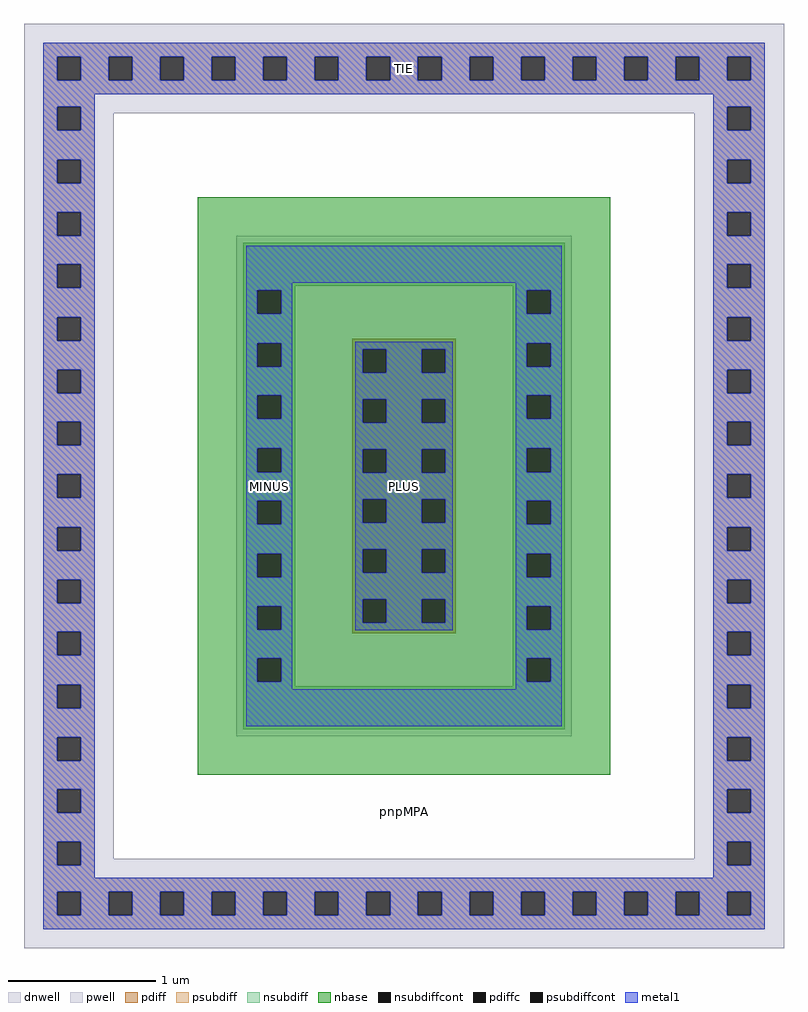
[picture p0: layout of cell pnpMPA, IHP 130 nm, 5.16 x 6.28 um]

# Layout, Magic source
magic
tech ihp-sg13g2
magscale 1 2
<< dnwell >>
rect -228 -340 228 340
<< pwell >>
rect -516 506 516 628
rect -516 -506 -394 506
rect 394 -506 516 506
rect -516 -628 516 -506
<< nbase >>
rect -280 -392 280 392
<< pdiff >>
rect -70 186 70 200
rect -70 154 -56 186
rect -24 154 24 186
rect 56 154 70 186
rect -70 118 70 154
rect -70 86 -56 118
rect -24 86 24 118
rect 56 86 70 118
rect -70 50 70 86
rect -70 18 -56 50
rect -24 18 24 50
rect 56 18 70 50
rect -70 -18 70 18
rect -70 -50 -56 -18
rect -24 -50 24 -18
rect 56 -50 70 -18
rect -70 -86 70 -50
rect -70 -118 -56 -86
rect -24 -118 24 -86
rect 56 -118 70 -86
rect -70 -154 70 -118
rect -70 -186 -56 -154
rect -24 -186 24 -154
rect 56 -186 70 -154
rect -70 -200 70 -186
<< pdiffc >>
rect -56 154 -24 186
rect 24 154 56 186
rect -56 86 -24 118
rect 24 86 56 118
rect -56 18 -24 50
rect 24 18 56 50
rect -56 -50 -24 -18
rect 24 -50 56 -18
rect -56 -118 -24 -86
rect 24 -118 56 -86
rect -56 -186 -24 -154
rect 24 -186 56 -154
<< psubdiff >>
rect -490 583 490 602
rect -490 551 -471 583
rect -439 551 -401 583
rect -369 551 -331 583
rect -299 551 -261 583
rect -229 551 -191 583
rect -159 551 -121 583
rect -89 551 -51 583
rect -19 551 19 583
rect 51 551 89 583
rect 121 551 159 583
rect 191 551 229 583
rect 261 551 299 583
rect 331 551 369 583
rect 401 551 439 583
rect 471 551 490 583
rect -490 532 490 551
rect -490 515 -420 532
rect -490 483 -471 515
rect -439 483 -420 515
rect -490 443 -420 483
rect -490 411 -471 443
rect -439 411 -420 443
rect -490 372 -420 411
rect -490 340 -471 372
rect -439 340 -420 372
rect -490 301 -420 340
rect 420 515 490 532
rect 420 483 439 515
rect 471 483 490 515
rect 420 443 490 483
rect 420 411 439 443
rect 471 411 490 443
rect 420 372 490 411
rect 420 340 439 372
rect 471 340 490 372
rect -490 269 -471 301
rect -439 269 -420 301
rect -490 229 -420 269
rect -490 197 -471 229
rect -439 197 -420 229
rect -490 158 -420 197
rect -490 126 -471 158
rect -439 126 -420 158
rect -490 87 -420 126
rect -490 55 -471 87
rect -439 55 -420 87
rect -490 16 -420 55
rect -490 -16 -471 16
rect -439 -16 -420 16
rect -490 -56 -420 -16
rect -490 -88 -471 -56
rect -439 -88 -420 -56
rect -490 -127 -420 -88
rect -490 -159 -471 -127
rect -439 -159 -420 -127
rect -490 -198 -420 -159
rect -490 -230 -471 -198
rect -439 -230 -420 -198
rect -490 -270 -420 -230
rect -490 -302 -471 -270
rect -439 -302 -420 -270
rect -490 -341 -420 -302
rect 420 301 490 340
rect 420 269 439 301
rect 471 269 490 301
rect 420 229 490 269
rect 420 197 439 229
rect 471 197 490 229
rect 420 158 490 197
rect 420 126 439 158
rect 471 126 490 158
rect 420 87 490 126
rect 420 55 439 87
rect 471 55 490 87
rect 420 16 490 55
rect 420 -16 439 16
rect 471 -16 490 16
rect 420 -56 490 -16
rect 420 -88 439 -56
rect 471 -88 490 -56
rect 420 -127 490 -88
rect 420 -159 439 -127
rect 471 -159 490 -127
rect 420 -198 490 -159
rect 420 -230 439 -198
rect 471 -230 490 -198
rect 420 -270 490 -230
rect 420 -302 439 -270
rect 471 -302 490 -270
rect -490 -373 -471 -341
rect -439 -373 -420 -341
rect -490 -412 -420 -373
rect -490 -444 -471 -412
rect -439 -444 -420 -412
rect -490 -483 -420 -444
rect -490 -515 -471 -483
rect -439 -515 -420 -483
rect -490 -532 -420 -515
rect 420 -341 490 -302
rect 420 -373 439 -341
rect 471 -373 490 -341
rect 420 -412 490 -373
rect 420 -444 439 -412
rect 471 -444 490 -412
rect 420 -483 490 -444
rect 420 -515 439 -483
rect 471 -515 490 -483
rect 420 -532 490 -515
rect -490 -551 490 -532
rect -490 -583 -471 -551
rect -439 -583 -401 -551
rect -369 -583 -331 -551
rect -299 -583 -261 -551
rect -229 -583 -191 -551
rect -159 -583 -121 -551
rect -89 -583 -51 -551
rect -19 -583 19 -551
rect 51 -583 89 -551
rect 121 -583 159 -551
rect 191 -583 229 -551
rect 261 -583 299 -551
rect 331 -583 369 -551
rect 401 -583 439 -551
rect 471 -583 490 -551
rect -490 -602 490 -583
<< nsubdiff >>
rect -218 272 218 330
rect -218 266 -148 272
rect -218 234 -199 266
rect -167 234 -148 266
rect -218 194 -148 234
rect 148 266 218 272
rect 148 234 167 266
rect 199 234 218 266
rect -218 162 -199 194
rect -167 162 -148 194
rect -218 123 -148 162
rect -218 91 -199 123
rect -167 91 -148 123
rect -218 51 -148 91
rect -218 19 -199 51
rect -167 19 -148 51
rect -218 -20 -148 19
rect -218 -52 -199 -20
rect -167 -52 -148 -20
rect -218 -92 -148 -52
rect -218 -124 -199 -92
rect -167 -124 -148 -92
rect -218 -163 -148 -124
rect -218 -195 -199 -163
rect -167 -195 -148 -163
rect -218 -234 -148 -195
rect 148 194 218 234
rect 148 162 167 194
rect 199 162 218 194
rect 148 123 218 162
rect 148 91 167 123
rect 199 91 218 123
rect 148 51 218 91
rect 148 19 167 51
rect 199 19 218 51
rect 148 -20 218 19
rect 148 -52 167 -20
rect 199 -52 218 -20
rect 148 -92 218 -52
rect 148 -124 167 -92
rect 199 -124 218 -92
rect 148 -163 218 -124
rect 148 -195 167 -163
rect 199 -195 218 -163
rect -218 -266 -199 -234
rect -167 -266 -148 -234
rect -218 -272 -148 -266
rect 148 -234 218 -195
rect 148 -266 167 -234
rect 199 -266 218 -234
rect 148 -272 218 -266
rect -218 -330 218 -272
<< psubdiffcont >>
rect -471 551 -439 583
rect -401 551 -369 583
rect -331 551 -299 583
rect -261 551 -229 583
rect -191 551 -159 583
rect -121 551 -89 583
rect -51 551 -19 583
rect 19 551 51 583
rect 89 551 121 583
rect 159 551 191 583
rect 229 551 261 583
rect 299 551 331 583
rect 369 551 401 583
rect 439 551 471 583
rect -471 483 -439 515
rect -471 411 -439 443
rect -471 340 -439 372
rect 439 483 471 515
rect 439 411 471 443
rect 439 340 471 372
rect -471 269 -439 301
rect -471 197 -439 229
rect -471 126 -439 158
rect -471 55 -439 87
rect -471 -16 -439 16
rect -471 -88 -439 -56
rect -471 -159 -439 -127
rect -471 -230 -439 -198
rect -471 -302 -439 -270
rect 439 269 471 301
rect 439 197 471 229
rect 439 126 471 158
rect 439 55 471 87
rect 439 -16 471 16
rect 439 -88 471 -56
rect 439 -159 471 -127
rect 439 -230 471 -198
rect 439 -302 471 -270
rect -471 -373 -439 -341
rect -471 -444 -439 -412
rect -471 -515 -439 -483
rect 439 -373 471 -341
rect 439 -444 471 -412
rect 439 -515 471 -483
rect -471 -583 -439 -551
rect -401 -583 -369 -551
rect -331 -583 -299 -551
rect -261 -583 -229 -551
rect -191 -583 -159 -551
rect -121 -583 -89 -551
rect -51 -583 -19 -551
rect 19 -583 51 -551
rect 89 -583 121 -551
rect 159 -583 191 -551
rect 229 -583 261 -551
rect 299 -583 331 -551
rect 369 -583 401 -551
rect 439 -583 471 -551
<< nsubdiffcont >>
rect -199 234 -167 266
rect 167 234 199 266
rect -199 162 -167 194
rect -199 91 -167 123
rect -199 19 -167 51
rect -199 -52 -167 -20
rect -199 -124 -167 -92
rect -199 -195 -167 -163
rect 167 162 199 194
rect 167 91 199 123
rect 167 19 199 51
rect 167 -52 199 -20
rect 167 -124 199 -92
rect 167 -195 199 -163
rect -199 -266 -167 -234
rect 167 -266 199 -234
<< metal1 >>
rect -490 583 490 602
rect -490 551 -471 583
rect -439 551 -401 583
rect -369 551 -331 583
rect -299 551 -261 583
rect -229 551 -191 583
rect -159 551 -121 583
rect -89 551 -51 583
rect -19 551 19 583
rect 51 551 89 583
rect 121 551 159 583
rect 191 551 229 583
rect 261 551 299 583
rect 331 551 369 583
rect 401 551 439 583
rect 471 551 490 583
rect -490 532 490 551
rect -490 515 -420 532
rect -490 483 -471 515
rect -439 483 -420 515
rect -490 443 -420 483
rect -490 411 -471 443
rect -439 411 -420 443
rect -490 372 -420 411
rect -490 340 -471 372
rect -439 340 -420 372
rect -490 301 -420 340
rect 420 515 490 532
rect 420 483 439 515
rect 471 483 490 515
rect 420 443 490 483
rect 420 411 439 443
rect 471 411 490 443
rect 420 372 490 411
rect 420 340 439 372
rect 471 340 490 372
rect -490 269 -471 301
rect -439 269 -420 301
rect -490 229 -420 269
rect -490 197 -471 229
rect -439 197 -420 229
rect -490 158 -420 197
rect -490 126 -471 158
rect -439 126 -420 158
rect -490 87 -420 126
rect -490 55 -471 87
rect -439 55 -420 87
rect -490 16 -420 55
rect -490 -16 -471 16
rect -439 -16 -420 16
rect -490 -56 -420 -16
rect -490 -88 -471 -56
rect -439 -88 -420 -56
rect -490 -127 -420 -88
rect -490 -159 -471 -127
rect -439 -159 -420 -127
rect -490 -198 -420 -159
rect -490 -230 -471 -198
rect -439 -230 -420 -198
rect -490 -270 -420 -230
rect -490 -302 -471 -270
rect -439 -302 -420 -270
rect -490 -341 -420 -302
rect -214 276 214 326
rect -214 266 -152 276
rect -214 234 -199 266
rect -167 234 -152 266
rect -214 194 -152 234
rect 152 266 214 276
rect 152 234 167 266
rect 199 234 214 266
rect -214 162 -199 194
rect -167 162 -152 194
rect -214 123 -152 162
rect -214 91 -199 123
rect -167 91 -152 123
rect -214 51 -152 91
rect -214 19 -199 51
rect -167 19 -152 51
rect -214 -20 -152 19
rect -214 -52 -199 -20
rect -167 -52 -152 -20
rect -214 -92 -152 -52
rect -214 -124 -199 -92
rect -167 -124 -152 -92
rect -214 -163 -152 -124
rect -214 -195 -199 -163
rect -167 -195 -152 -163
rect -214 -234 -152 -195
rect -66 186 66 196
rect -66 154 -56 186
rect -24 154 24 186
rect 56 154 66 186
rect -66 118 66 154
rect -66 86 -56 118
rect -24 86 24 118
rect 56 86 66 118
rect -66 50 66 86
rect -66 18 -56 50
rect -24 18 24 50
rect 56 18 66 50
rect -66 -18 66 18
rect -66 -50 -56 -18
rect -24 -50 24 -18
rect 56 -50 66 -18
rect -66 -86 66 -50
rect -66 -118 -56 -86
rect -24 -118 24 -86
rect 56 -118 66 -86
rect -66 -154 66 -118
rect -66 -186 -56 -154
rect -24 -186 24 -154
rect 56 -186 66 -154
rect -66 -196 66 -186
rect 152 194 214 234
rect 152 162 167 194
rect 199 162 214 194
rect 152 123 214 162
rect 152 91 167 123
rect 199 91 214 123
rect 152 51 214 91
rect 152 19 167 51
rect 199 19 214 51
rect 152 -20 214 19
rect 152 -52 167 -20
rect 199 -52 214 -20
rect 152 -92 214 -52
rect 152 -124 167 -92
rect 199 -124 214 -92
rect 152 -163 214 -124
rect 152 -195 167 -163
rect 199 -195 214 -163
rect -214 -266 -199 -234
rect -167 -266 -152 -234
rect -214 -276 -152 -266
rect 152 -234 214 -195
rect 152 -266 167 -234
rect 199 -266 214 -234
rect 152 -276 214 -266
rect -214 -326 214 -276
rect 420 301 490 340
rect 420 269 439 301
rect 471 269 490 301
rect 420 229 490 269
rect 420 197 439 229
rect 471 197 490 229
rect 420 158 490 197
rect 420 126 439 158
rect 471 126 490 158
rect 420 87 490 126
rect 420 55 439 87
rect 471 55 490 87
rect 420 16 490 55
rect 420 -16 439 16
rect 471 -16 490 16
rect 420 -56 490 -16
rect 420 -88 439 -56
rect 471 -88 490 -56
rect 420 -127 490 -88
rect 420 -159 439 -127
rect 471 -159 490 -127
rect 420 -198 490 -159
rect 420 -230 439 -198
rect 471 -230 490 -198
rect 420 -270 490 -230
rect 420 -302 439 -270
rect 471 -302 490 -270
rect -490 -373 -471 -341
rect -439 -373 -420 -341
rect -490 -412 -420 -373
rect -490 -444 -471 -412
rect -439 -444 -420 -412
rect -490 -483 -420 -444
rect -490 -515 -471 -483
rect -439 -515 -420 -483
rect -490 -532 -420 -515
rect 420 -341 490 -302
rect 420 -373 439 -341
rect 471 -373 490 -341
rect 420 -412 490 -373
rect 420 -444 439 -412
rect 471 -444 490 -412
rect 420 -483 490 -444
rect 420 -515 439 -483
rect 471 -515 490 -483
rect 420 -532 490 -515
rect -490 -551 490 -532
rect -490 -583 -471 -551
rect -439 -583 -401 -551
rect -369 -583 -331 -551
rect -299 -583 -261 -551
rect -229 -583 -191 -551
rect -159 -583 -121 -551
rect -89 -583 -51 -551
rect -19 -583 19 -551
rect 51 -583 89 -551
rect 121 -583 159 -551
rect 191 -583 229 -551
rect 261 -583 299 -551
rect 331 -583 369 -551
rect 401 -583 439 -551
rect 471 -583 490 -551
rect -490 -602 490 -583
<< labels >>
flabel comment s 0 567 0 567 0 FreeSans 1400 0 0 0 TIE
flabel comment s 0 -442 0 -442 0 FreeSans 1000 0 0 0 pnpMPA
flabel comment s -183 0 -183 0 0 FreeSans 700 90 0 0 MINUS
flabel comment s 0 0 0 0 0 FreeSans 700 90 0 0 PLUS
<< end >>
